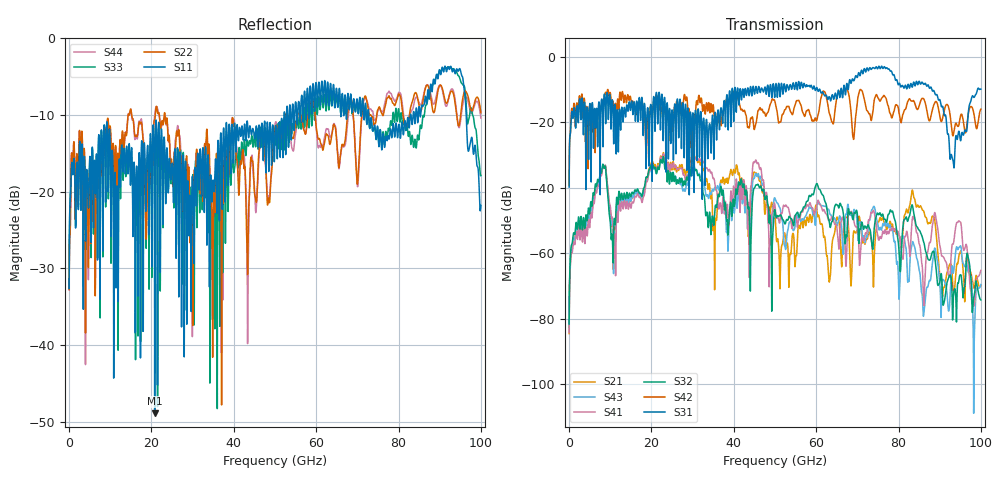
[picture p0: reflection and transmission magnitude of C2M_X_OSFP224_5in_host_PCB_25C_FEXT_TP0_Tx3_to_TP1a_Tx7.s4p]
# GHz S RI R 45
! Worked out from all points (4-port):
!   4000 points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, 25 MHz to 100 GHz, reference 45 ohm
!   strongest paths, dB at 25 MHz, 25.02 GHz, 50.02 GHz, 75.03 GHz, 100 GHz:
!     S31: -39.7, -16.2, -10.9, -3.4, -9.9
!     S42: -39.3, -21.2, -13.8, -12.5, -15.9
!     S32: -81.6, -37.6, -46.9, -47.9, -74.3
!     S41: -84.3, -34.0, -45.6, -55.0, -65.2
!     S43: -82.6, -37.0, -43.3, -51.4, -69.5
!     S21: -84.5, -34.3, -48.2, -50.4, -69.7
!   lowest |S11| = -48.9 dB at 20.8 GHz (marker M1), VSWR 1.01, Z = 45 - j0.322 ohm
!   |S11| at or under -10 dB: start of sweep to 52.2 GHz; 72.78 GHz to 82.87 GHz (10.08 GHz wide, 13 % of centre); 96.44 GHz to end of sweep (the widest 3 of 22)
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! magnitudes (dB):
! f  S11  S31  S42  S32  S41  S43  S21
! 25 MHz  -32.6  -39.7  -39.3  -81.6  -84.3  -82.6  -84.5
! 8.4 GHz  -13.1  -14.4  -12.8  -33.6  -33.7  -33.6  -33.7
! 11 GHz  -20.1  -16.7  -20.1  -49.4  -55.4  -53.9  -52.2
! 20.8 GHz  -48.9  -18.7  -14.6  -33.8  -33.6  -34.0  -33.0
! 76.25 GHz  -12.4  -3.5  -12.1  -48.3  -53.3  -50.9  -49.2
! 93.1 GHz  -4.4  -31.2  -23.8  -79.3  -57.2  -64.2  -67.9
! 100 GHz  -21.8  -9.9  -15.9  -74.3  -65.2  -69.5  -69.7
